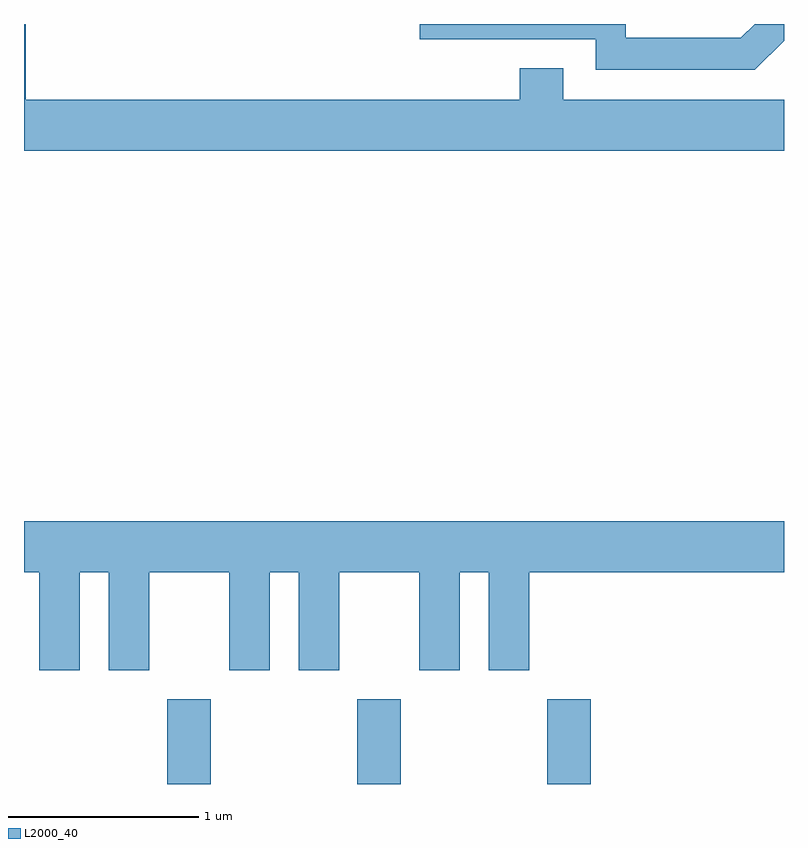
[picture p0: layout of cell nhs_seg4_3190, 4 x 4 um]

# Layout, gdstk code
import gdstk
lib = gdstk.Library(unit=1e-6, precision=1e-09)
def R(c, l, rs):  # rectangles x0, y0, x1, y1
    for r in rs: c.add(gdstk.rectangle(r[:2], r[2:], *l))
def A(c, l, x, y, w, h, nx, ny, dx, dy):  # array of equal rectangles
    R(c, l, [(x+i*dx, y+j*dy, x+i*dx+w, y+j*dy+h) for i in range(nx) for j in range(ny)])
def P(c, l, *ps):  # polygons
    for p in ps: c.add(gdstk.Polygon(p, *l))
L2000_40 = (2000, 40)

nhs_seg4_3190 = lib.new_cell('nhs_seg4_3190')
A(nhs_seg4_3190, L2000_40, 278.366, 1377.982, 0.228, 0.447, 3, 1, 1, 0)
P(nhs_seg4_3190, L2000_40, [(281.611,1381.584),(280.449,1381.584),(280.449,1381.749),(280.221,1381.749),(280.221,1381.584),(277.619,1381.584),(277.619,1381.982),(277.611,1381.982),(277.611,1381.316),(281.611,1381.316)],
  [(281.611,1381.895),(281.611,1381.982),(281.457,1381.982),(281.384,1381.909),(280.779,1381.909),(280.779,1381.982),(279.693,1381.982),(279.693,1381.901),(280.621,1381.901),(280.621,1381.741),(281.457,1381.741)],
  [(277.611,1379.096),(277.691,1379.096),(277.691,1378.581),(277.904,1378.581),(277.904,1379.096),(278.056,1379.096),(278.056,1378.581),(278.269,1378.581),(278.269,1379.096),(278.691,1379.096),(278.691,1378.581),(278.904,1378.581),(278.904,1379.096),(279.056,1379.096),(279.056,1378.581),(279.269,1378.581),(279.269,1379.096),(279.691,1379.096),(279.691,1378.581),(279.904,1378.581),(279.904,1379.096),(280.056,1379.096),(280.056,1378.581),(280.269,1378.581),(280.269,1379.096),(281.611,1379.096),(281.611,1379.364),(277.611,1379.364)])

lib.write_gds('nhs_seg4_3190.gds')
